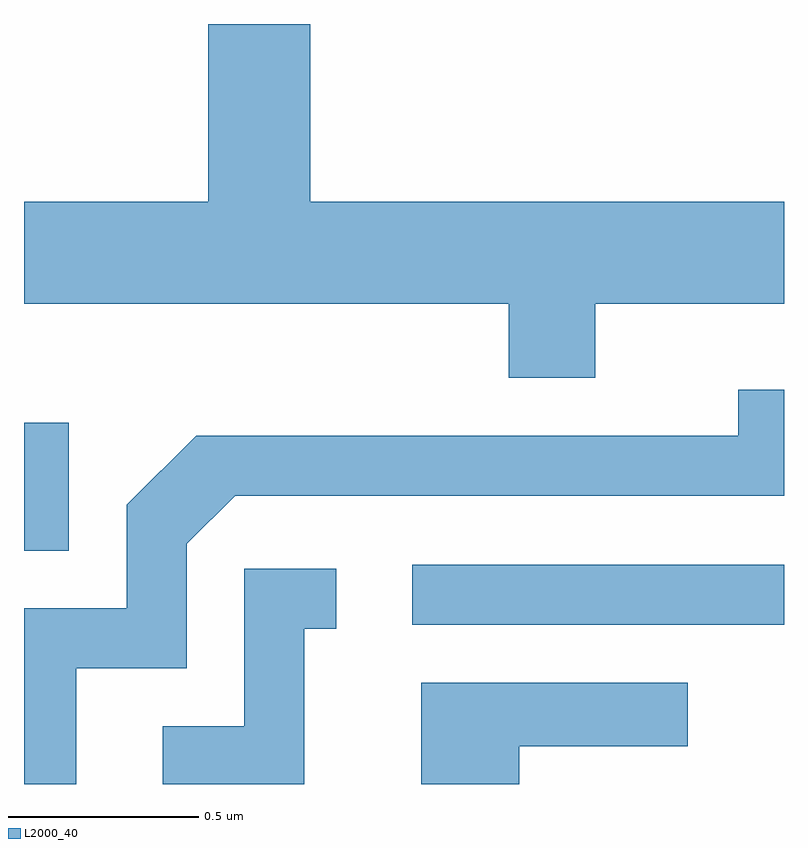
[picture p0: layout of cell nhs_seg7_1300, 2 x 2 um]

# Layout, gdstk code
import gdstk
lib = gdstk.Library(unit=1e-6, precision=1e-09)
def R(c, l, rs):  # rectangles x0, y0, x1, y1
    for r in rs: c.add(gdstk.rectangle(r[:2], r[2:], *l))
def P(c, l, *ps):  # polygons
    for p in ps: c.add(gdstk.Polygon(p, *l))
L2000_40 = (2000, 40)

nhs_seg7_1300 = lib.new_cell('nhs_seg7_1300')
R(nhs_seg7_1300, L2000_40, [(195.633,1735.671,196.611,1735.829), (194.611,1735.866,194.729,1736.203)])
P(nhs_seg7_1300, L2000_40, [(196.114,1736.516),(196.611,1736.516),(196.611,1736.784),(195.364,1736.784),(195.364,1737.252),(195.096,1737.252),(195.096,1736.784),(194.611,1736.784),(194.611,1736.516),(195.886,1736.516),(195.886,1736.321),(196.114,1736.321)],
  [(194.749,1735.556),(195.039,1735.556),(195.039,1735.884),(195.167,1736.011),(196.611,1736.011),(196.611,1736.289),(196.491,1736.289),(196.491,1736.169),(195.064,1736.169),(194.881,1735.987),(194.881,1735.714),(194.611,1735.714),(194.611,1735.252),(194.749,1735.252)],
  [(195.349,1735.661),(195.433,1735.661),(195.433,1735.819),(195.191,1735.819),(195.191,1735.404),(194.976,1735.404),(194.976,1735.252),(195.349,1735.252)],
  [(195.914,1735.351),(196.358,1735.351),(196.358,1735.519),(195.656,1735.519),(195.656,1735.252),(195.914,1735.252)])

lib.write_gds('nhs_seg7_1300.gds')
